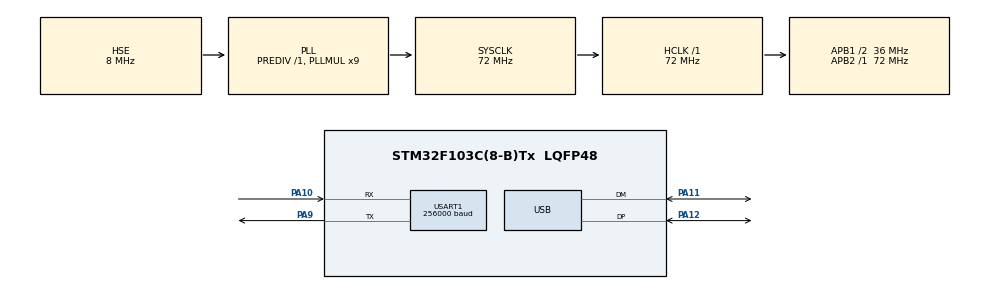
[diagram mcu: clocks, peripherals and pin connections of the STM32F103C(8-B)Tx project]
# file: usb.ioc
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Dma.Request0=USART1_RX
Dma.Request1=USART1_TX
Dma.USART1_RX.0.Direction=DMA_PERIPH_TO_MEMORY
Dma.USART1_RX.0.Instance=DMA1_Channel5
Dma.USART1_RX.0.MemDataAlignment=DMA_MDATAALIGN_BYTE
Dma.USART1_RX.0.MemInc=DMA_MINC_ENABLE
Dma.USART1_RX.0.Mode=DMA_NORMAL
Dma.USART1_RX.0.PeriphDataAlignment=DMA_PDATAALIGN_BYTE
Dma.USART1_RX.0.PeriphInc=DMA_PINC_DISABLE
Dma.USART1_RX.0.Priority=DMA_PRIORITY_LOW
Dma.USART1_TX.1.Direction=DMA_MEMORY_TO_PERIPH
Dma.USART1_TX.1.Instance=DMA1_Channel4
Dma.USART1_TX.1.MemDataAlignment=DMA_MDATAALIGN_BYTE
Dma.USART1_TX.1.MemInc=DMA_MINC_ENABLE
Dma.USART1_TX.1.Mode=DMA_NORMAL
Dma.USART1_TX.1.PeriphDataAlignment=DMA_PDATAALIGN_BYTE
Dma.USART1_TX.1.PeriphInc=DMA_PINC_DISABLE
Dma.USART1_TX.1.Priority=DMA_PRIORITY_LOW
Mcu.Family=STM32F1
Mcu.Name=STM32F103C(8-B)Tx
Mcu.Package=LQFP48
NVIC.DMA1_Channel4_IRQn=true\:0\:0\:false\:false\:true\:false\:true\:true
NVIC.DMA1_Channel5_IRQn=true\:0\:0\:false\:false\:true\:false\:true\:true
NVIC.PriorityGroup=NVIC_PRIORITYGROUP_4
NVIC.TIM1_UP_IRQn=true\:0\:0\:false\:false\:true\:true\:true\:true
NVIC.USART1_IRQn=true\:0\:0\:false\:false\:true\:true\:true\:true
NVIC.USB_HP_CAN1_TX_IRQn=true\:0\:0\:false\:false\:true\:true\:true\:true
NVIC.USB_LP_CAN1_RX0_IRQn=true\:0\:0\:false\:false\:true\:true\:true\:true
PA10.Mode=Asynchronous
PA10.Signal=USART1_RX
PA11.Mode=Device
PA11.Signal=USB_DM
PA12.Mode=Device
PA12.Signal=USB_DP
PA13.Mode=Serial_Wire
PA13.Signal=SYS_JTMS-SWDIO
PA14.Mode=Serial_Wire
PA14.Signal=SYS_JTCK-SWCLK
PA9.Mode=Asynchronous
PA9.Signal=USART1_TX
PD0-OSC_IN.Mode=HSE-External-Oscillator
PD0-OSC_IN.Signal=RCC_OSC_IN
PD1-OSC_OUT.Mode=HSE-External-Oscillator
PD1-OSC_OUT.Signal=RCC_OSC_OUT
ProjectManager.HeapSize=0x200
ProjectManager.StackSize=0x400
ProjectManager.TargetToolchain=STM32CubeIDE
RCC.AHBFreq_Value=72000000
RCC.APB1CLKDivider=RCC_HCLK_DIV2
RCC.APB1Freq_Value=36000000
RCC.APB1TimFreq_Value=72000000
RCC.APB2Freq_Value=72000000
RCC.APB2TimFreq_Value=72000000
RCC.HCLKFreq_Value=72000000
RCC.PLLMUL=RCC_PLL_MUL9
RCC.SYSCLKFreq_VALUE=72000000
RCC.SYSCLKSource=RCC_SYSCLKSOURCE_PLLCLK
RCC.USBFreq_Value=48000000
RCC.USBPrescaler=RCC_USBCLKSOURCE_PLL_DIV1_5
TIM1.Prescaler=71
USART1.BaudRate=256000
USART1.VirtualMode=VM_ASYNC
USB_DEVICE.CLASS_NAME_FS=CDC
USB_DEVICE.VirtualMode=Cdc
USB_DEVICE.VirtualModeFS=Cdc_FS
VP_TIM1_VS_ClockSourceINT.Mode=Internal
VP_USB_DEVICE_VS_USB_DEVICE_CDC_FS.Mode=CDC_FS
board=custom

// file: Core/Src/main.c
/* USER CODE BEGIN Header */
/**
 ******************************************************************************
 * @file           : main.c
 * @brief          : Main program body
 ******************************************************************************
 * @attention
 *
 * Copyright (c) 2025 STMicroelectronics.
 * All rights reserved.
 *
 * This software is licensed under terms that can be found in the LICENSE file
 * in the root directory of this software component.
 * If no LICENSE file comes with this software, it is provided AS-IS.
 *
 ******************************************************************************
 */
/* USER CODE END Header */
#include "main.h"
#include "usb_device.h"

/* USER CODE BEGIN Includes */
#include "../../Drivers/SbW_Protocol/SBW_protocol.h"
#include "../Hardware_Interface/Hardware_Interface.h"
/* USER CODE END Includes */

TIM_HandleTypeDef htim1;

UART_HandleTypeDef huart1;
DMA_HandleTypeDef hdma_usart1_rx;
DMA_HandleTypeDef hdma_usart1_tx;

/* USER CODE BEGIN PV */
extern uint8_t TxBuffer[];

DataFrame F;

#define Def_Frame_Len sizeof(DataFrame)
#define FIFO_Depth 50
uint8_t FrameBuffer[Def_Frame_Len * FIFO_Depth];

SbW_Protocol_t S = {
		.SamplingFreq = 15,
		.Frame_Len = Def_Frame_Len,
		.HW_Interface_t = {
							.Send_Reply = SbW_Protocol_Reply,
							.User_Callback = App_User_Callback },
		.Fifo_Buffer = FrameBuffer,
		.Fifo_Buffer_Size = sizeof(FrameBuffer),
		.FrameDataBaseAddress = (uint8_t*) &F,
		.P_TXBuffer = TxBuffer
};

extern uint8_t RxBuffer[];
/* USER CODE END PV */

void SystemClock_Config(void);
static void MX_GPIO_Init(void);
static void MX_DMA_Init(void);
static void MX_USART1_UART_Init(void);
static void MX_TIM1_Init(void);

int main(void) {

	/* MCU Configuration--------------------------------------------------------*/

	/* Reset of all peripherals, Initializes the Flash interface and the Systick. */
	HAL_Init();

	/* Configure the system clock */
	SystemClock_Config();

	/* Initialize all configured peripherals */
	MX_GPIO_Init();
	MX_DMA_Init();
	MX_USB_DEVICE_Init();
	MX_USART1_UART_Init();
	MX_TIM1_Init();
	/* USER CODE BEGIN 2 */
	HAL_UARTEx_ReceiveToIdle_DMA(&huart1, RxBuffer, TxRxBufferSize);
	SbW_Init(&S);
	HAL_TIM_Base_Start_IT(&htim1);
	/* USER CODE END 2 */

	/* Infinite loop */
	while (1) {

	}
}

void SystemClock_Config(void) {
	RCC_OscInitTypeDef RCC_OscInitStruct = { 0 };
	RCC_ClkInitTypeDef RCC_ClkInitStruct = { 0 };
	RCC_PeriphCLKInitTypeDef PeriphClkInit = { 0 };

	/** Initializes the RCC Oscillators according to the specified parameters
	 * in the RCC_OscInitTypeDef structure.
	 */
	RCC_OscInitStruct.OscillatorType = RCC_OSCILLATORTYPE_HSE;
	RCC_OscInitStruct.HSEState = RCC_HSE_ON;
	RCC_OscInitStruct.HSEPredivValue = RCC_HSE_PREDIV_DIV1;
	RCC_OscInitStruct.HSIState = RCC_HSI_ON;
	RCC_OscInitStruct.PLL.PLLState = RCC_PLL_ON;
	RCC_OscInitStruct.PLL.PLLSource = RCC_PLLSOURCE_HSE;
	RCC_OscInitStruct.PLL.PLLMUL = RCC_PLL_MUL9;
	if (HAL_RCC_OscConfig(&RCC_OscInitStruct) != HAL_OK) {
		Error_Handler();
	}

	/** Initializes the CPU, AHB and APB buses clocks
	 */
	RCC_ClkInitStruct.ClockType = RCC_CLOCKTYPE_HCLK | RCC_CLOCKTYPE_SYSCLK
			| RCC_CLOCKTYPE_PCLK1 | RCC_CLOCKTYPE_PCLK2;
	RCC_ClkInitStruct.SYSCLKSource = RCC_SYSCLKSOURCE_PLLCLK;
	RCC_ClkInitStruct.AHBCLKDivider = RCC_SYSCLK_DIV1;
	RCC_ClkInitStruct.APB1CLKDivider = RCC_HCLK_DIV2;
	RCC_ClkInitStruct.APB2CLKDivider = RCC_HCLK_DIV1;

	if (HAL_RCC_ClockConfig(&RCC_ClkInitStruct, FLASH_LATENCY_2) != HAL_OK) {
		Error_Handler();
	}
	PeriphClkInit.PeriphClockSelection = RCC_PERIPHCLK_USB;
	PeriphClkInit.UsbClockSelection = RCC_USBCLKSOURCE_PLL_DIV1_5;
	if (HAL_RCCEx_PeriphCLKConfig(&PeriphClkInit) != HAL_OK) {
		Error_Handler();
	}
}

static void MX_TIM1_Init(void) {

	TIM_ClockConfigTypeDef sClockSourceConfig = { 0 };
	TIM_MasterConfigTypeDef sMasterConfig = { 0 };

	htim1.Instance = TIM1;
	htim1.Init.Prescaler = 71;
	htim1.Init.CounterMode = TIM_COUNTERMODE_UP;
	htim1.Init.Period = 65535;
	htim1.Init.ClockDivision = TIM_CLOCKDIVISION_DIV1;
	htim1.Init.RepetitionCounter = 0;
	htim1.Init.AutoReloadPreload = TIM_AUTORELOAD_PRELOAD_DISABLE;
	if (HAL_TIM_Base_Init(&htim1) != HAL_OK) {
		Error_Handler();
	}
	sClockSourceConfig.ClockSource = TIM_CLOCKSOURCE_INTERNAL;
	if (HAL_TIM_ConfigClockSource(&htim1, &sClockSourceConfig) != HAL_OK) {
		Error_Handler();
	}
	sMasterConfig.MasterOutputTrigger = TIM_TRGO_RESET;
	sMasterConfig.MasterSlaveMode = TIM_MASTERSLAVEMODE_DISABLE;
	if (HAL_TIMEx_MasterConfigSynchronization(&htim1, &sMasterConfig)
			!= HAL_OK) {
		Error_Handler();
	}

}

static void MX_USART1_UART_Init(void) {

	huart1.Instance = USART1;
	huart1.Init.BaudRate = 256000;
	huart1.Init.WordLength = UART_WORDLENGTH_8B;
	huart1.Init.StopBits = UART_STOPBITS_1;
	huart1.Init.Parity = UART_PARITY_NONE;
	huart1.Init.Mode = UART_MODE_TX_RX;
	huart1.Init.HwFlowCtl = UART_HWCONTROL_NONE;
	huart1.Init.OverSampling = UART_OVERSAMPLING_16;
	if (HAL_UART_Init(&huart1) != HAL_OK) {
		Error_Handler();
	}

}

static void MX_DMA_Init(void) {

	/* DMA controller clock enable */
	__HAL_RCC_DMA1_CLK_ENABLE();

	/* DMA interrupt init */
	/* DMA1_Channel4_IRQn interrupt configuration */
	HAL_NVIC_SetPriority(DMA1_Channel4_IRQn, 0, 0);
	HAL_NVIC_EnableIRQ(DMA1_Channel4_IRQn);
	/* DMA1_Channel5_IRQn interrupt configuration */
	HAL_NVIC_SetPriority(DMA1_Channel5_IRQn, 0, 0);
	HAL_NVIC_EnableIRQ(DMA1_Channel5_IRQn);

}

static void MX_GPIO_Init(void) {

	/* GPIO Ports Clock Enable */
	__HAL_RCC_GPIOD_CLK_ENABLE();
	__HAL_RCC_GPIOA_CLK_ENABLE();

}

void Error_Handler(void) {
	__disable_irq();
	while (1) {
	}
}
